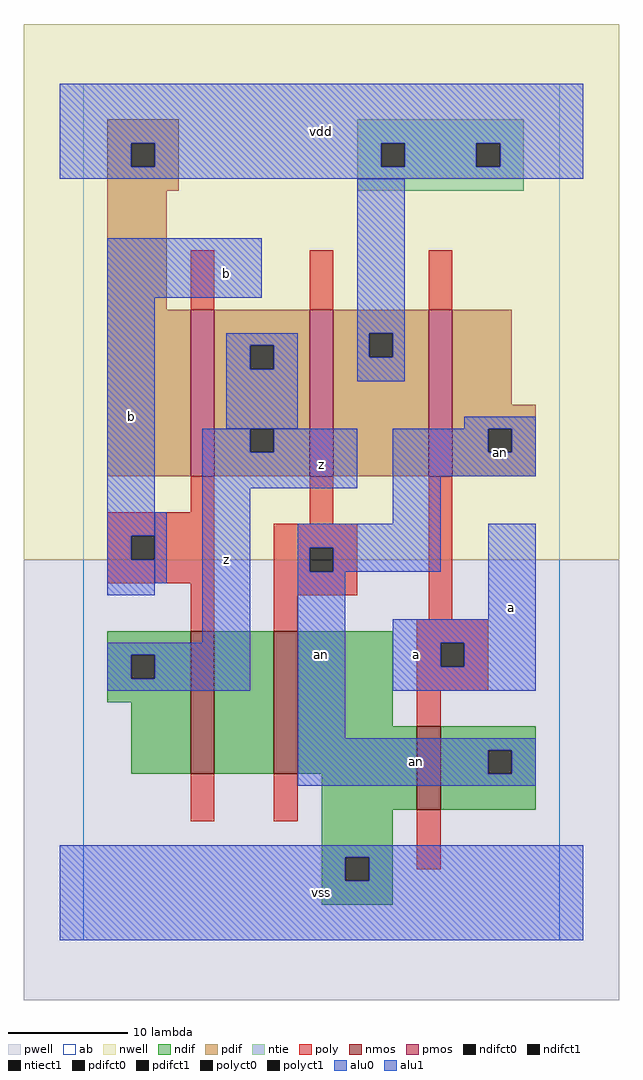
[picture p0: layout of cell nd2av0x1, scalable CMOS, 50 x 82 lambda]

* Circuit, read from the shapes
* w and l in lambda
.subckt nd2av0x1 a an b vdd vss z
M1 n1 b z VSUBS nfet w=12 l=2
M2 vss an n1 VSUBS nfet w=12 l=2
M3 an a vss VSUBS nfet w=7 l=2
M4 z b vdd vdd pfet w=14 l=2
M5 vdd an z vdd pfet w=14 l=2
M6 an a vdd vdd pfet w=14 l=2
.ends

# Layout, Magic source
magic
tech scmos
<< ab >>
rect 0 0 40 72
<< nwell >>
rect -5 32 45 77
<< pwell >>
rect -5 -5 45 32
<< poly >>
rect 9 53 11 58
rect 19 53 21 58
rect 29 53 31 58
rect 9 36 11 39
rect 2 34 11 36
rect 19 35 21 39
rect 2 32 4 34
rect 6 32 11 34
rect 2 30 11 32
rect 9 26 11 30
rect 16 33 23 35
rect 16 31 19 33
rect 21 31 23 33
rect 16 29 23 31
rect 16 26 18 29
rect 29 27 31 39
rect 28 25 34 27
rect 28 23 30 25
rect 32 23 34 25
rect 28 21 34 23
rect 28 18 30 21
rect 9 10 11 14
rect 16 10 18 14
rect 28 6 30 11
<< ndif >>
rect 2 24 9 26
rect 2 22 4 24
rect 6 22 9 24
rect 2 20 9 22
rect 4 14 9 20
rect 11 14 16 26
rect 18 18 26 26
rect 18 14 28 18
rect 20 11 28 14
rect 30 16 38 18
rect 30 14 34 16
rect 36 14 38 16
rect 30 11 38 14
rect 20 7 26 11
rect 20 5 22 7
rect 24 5 26 7
rect 20 3 26 5
<< pdif >>
rect 2 67 8 69
rect 2 65 4 67
rect 6 65 8 67
rect 2 63 8 65
rect 2 53 7 63
rect 2 39 9 53
rect 11 50 19 53
rect 11 48 14 50
rect 16 48 19 50
rect 11 43 19 48
rect 11 41 14 43
rect 16 41 19 43
rect 11 39 19 41
rect 21 51 29 53
rect 21 49 24 51
rect 26 49 29 51
rect 21 39 29 49
rect 31 45 36 53
rect 31 43 38 45
rect 31 41 34 43
rect 36 41 38 43
rect 31 39 38 41
<< alu1 >>
rect -2 67 42 72
rect -2 65 4 67
rect 6 65 25 67
rect 27 65 33 67
rect 35 65 42 67
rect -2 64 42 65
rect 2 54 15 59
rect 2 34 6 54
rect 10 41 14 43
rect 16 41 23 43
rect 10 38 23 41
rect 2 32 4 34
rect 2 29 6 32
rect 10 25 14 38
rect 2 24 14 25
rect 2 22 4 24
rect 6 22 14 24
rect 2 21 14 22
rect 34 27 38 35
rect 26 25 38 27
rect 26 23 30 25
rect 32 23 38 25
rect 26 21 38 23
rect -2 7 42 8
rect -2 5 22 7
rect 24 5 42 7
rect -2 0 42 5
<< ntie >>
rect 23 67 37 69
rect 23 65 25 67
rect 27 65 33 67
rect 35 65 37 67
rect 23 63 37 65
<< nmos >>
rect 9 14 11 26
rect 16 14 18 26
rect 28 11 30 18
<< pmos >>
rect 9 39 11 53
rect 19 39 21 53
rect 29 39 31 53
<< polyct0 >>
rect 19 31 21 33
<< polyct1 >>
rect 4 32 6 34
rect 30 23 32 25
<< ndifct0 >>
rect 34 14 36 16
<< ndifct1 >>
rect 4 22 6 24
rect 22 5 24 7
<< ntiect1 >>
rect 25 65 27 67
rect 33 65 35 67
<< pdifct0 >>
rect 14 48 16 50
rect 24 49 26 51
rect 34 41 36 43
<< pdifct1 >>
rect 4 65 6 67
rect 14 41 16 43
<< alu0 >>
rect 23 51 27 64
rect 12 50 18 51
rect 12 48 14 50
rect 16 48 18 50
rect 12 43 18 48
rect 23 49 24 51
rect 26 49 27 51
rect 23 47 27 49
rect 32 43 38 44
rect 26 41 34 43
rect 36 41 38 43
rect 26 39 38 41
rect 6 30 7 36
rect 26 35 30 39
rect 18 33 30 35
rect 18 31 19 33
rect 21 31 30 33
rect 18 17 22 31
rect 18 16 38 17
rect 18 14 34 16
rect 36 14 38 16
rect 18 13 38 14
<< labels >>
rlabel alu0 20 24 20 24 6 an
rlabel alu0 28 15 28 15 6 an
rlabel alu0 35 41 35 41 6 an
rlabel alu1 4 44 4 44 6 b
rlabel alu1 12 32 12 32 6 z
rlabel alu1 12 56 12 56 6 b
rlabel alu1 20 4 20 4 6 vss
rlabel alu1 28 24 28 24 6 a
rlabel alu1 20 40 20 40 6 z
rlabel alu1 20 68 20 68 6 vdd
rlabel alu1 36 28 36 28 6 a
<< end >>
